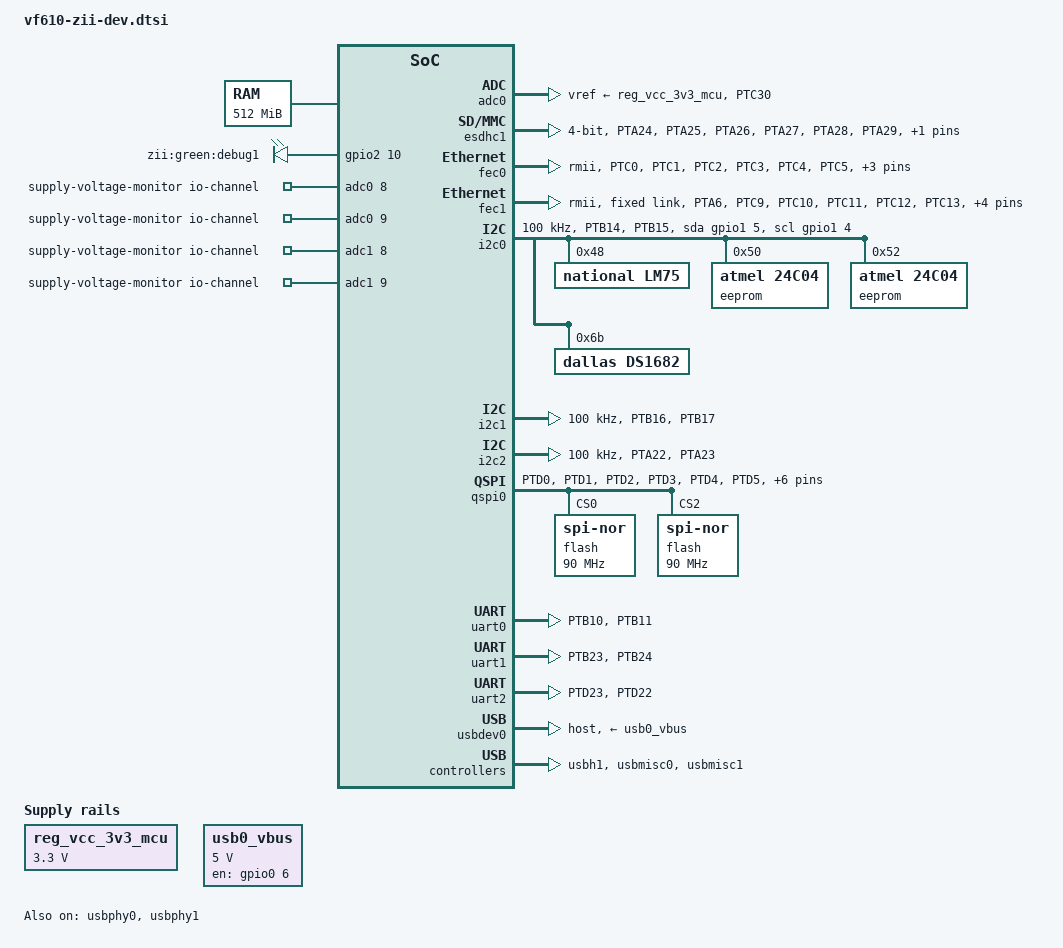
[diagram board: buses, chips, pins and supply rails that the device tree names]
/*
 * Copyright (C) 2015, 2016 Zodiac Inflight Innovations
 *
 * Based on an original 'vf610-twr.dts' which is Copyright 2015,
 * Freescale Semiconductor, Inc.
 *
 * This file is dual-licensed: you can use it either under the terms
 * of the GPL or the X11 license, at your option. Note that this dual
 * licensing only applies to this file, and not this project as a
 * whole.
 *
 *  a) This file is free software; you can redistribute it and/or
 *     modify it under the terms of the GNU General Public License
 *     version 2 as published by the Free Software Foundation.
 *
 *     This file is distributed in the hope that it will be useful,
 *     but WITHOUT ANY WARRANTY; without even the implied warranty of
 *     MERCHANTABILITY or FITNESS FOR A PARTICULAR PURPOSE.  See the
 *     GNU General Public License for more details.
 *
 * Or, alternatively,
 *
 *  b) Permission is hereby granted, free of charge, to any person
 *     obtaining a copy of this software and associated documentation
 *     files (the "Software"), to deal in the Software without
 *     restriction, including without limitation the rights to use,
 *     copy, modify, merge, publish, distribute, sublicense, and/or
 *     sell copies of the Software, and to permit persons to whom the
 *     Software is furnished to do so, subject to the following
 *     conditions:
 *
 *     The above copyright notice and this permission notice shall be
 *     included in all copies or substantial portions of the Software.
 *
 *     THE SOFTWARE IS PROVIDED , WITHOUT WARRANTY OF ANY KIND,
 *     EXPRESS OR IMPLIED, INCLUDING BUT NOT LIMITED TO THE WARRANTIES
 *     OF MERCHANTABILITY, FITNESS FOR A PARTICULAR PURPOSE AND
 *     NONINFRINGEMENT. IN NO EVENT SHALL THE AUTHORS OR COPYRIGHT
 *     HOLDERS BE LIABLE FOR ANY CLAIM, DAMAGES OR OTHER LIABILITY,
 *     WHETHER IN AN ACTION OF CONTRACT, TORT OR OTHERWISE, ARISING
 *     FROM, OUT OF OR IN CONNECTION WITH THE SOFTWARE OR THE USE OR
 *     OTHER DEALINGS IN THE SOFTWARE.
 */

#include "vf610.dtsi"

/ {
	chosen {
		stdout-path = "serial0:115200n8";
	};

	memory@80000000 {
		device_type = "memory";
		reg = <0x80000000 0x20000000>;
	};

	gpio-leds {
		compatible = "gpio-leds";
		pinctrl-0 = <&pinctrl_leds_debug>;
		pinctrl-names = "default";

		led-debug {
			label = "zii:green:debug1";
			gpios = <&gpio2 10 GPIO_ACTIVE_HIGH>;
			linux,default-trigger = "heartbeat";
		};
	};

	reg_vcc_3v3_mcu: regulator-vcc-3v3-mcu {
		compatible = "regulator-fixed";
		regulator-name = "vcc_3v3_mcu";
		regulator-min-microvolt = <3300000>;
		regulator-max-microvolt = <3300000>;
	};

	usb0_vbus: regulator-usb0-vbus {
		compatible = "regulator-fixed";
		pinctrl-0 = <&pinctrl_usb_vbus>;
		regulator-name = "usb_vbus";
		regulator-min-microvolt = <5000000>;
		regulator-max-microvolt = <5000000>;
		enable-active-high;
		regulator-always-on;
		regulator-boot-on;
		gpio = <&gpio0 6 0>;
	};

	supply-voltage-monitor {
		compatible = "iio-hwmon";
		io-channels = <&adc0 8>, /* VCC_1V5 */
			      <&adc0 9>, /* VCC_1V8 */
			      <&adc1 8>, /* VCC_1V0 */
			      <&adc1 9>; /* VCC_1V2 */
	};
};

&adc0 {
	pinctrl-names = "default";
	pinctrl-0 = <&pinctrl_adc0_ad5>;
	vref-supply = <&reg_vcc_3v3_mcu>;
	status = "okay";
};

&edma0 {
	status = "okay";
};

&edma1 {
	status = "okay";
};

&esdhc1 {
	pinctrl-names = "default";
	pinctrl-0 = <&pinctrl_esdhc1>;
	bus-width = <4>;
	status = "okay";
};

&fec0 {
	phy-mode = "rmii";
	pinctrl-names = "default";
	pinctrl-0 = <&pinctrl_fec0>;
	status = "okay";
};

&fec1 {
	phy-mode = "rmii";
	pinctrl-names = "default";
	pinctrl-0 = <&pinctrl_fec1>;
	status = "okay";

	fixed-link {
		   speed = <100>;
		   full-duplex;
	};

	mdio1: mdio {
		#address-cells = <1>;
		#size-cells = <0>;
		clock-frequency = <12500000>;
		suppress-preamble;
		status = "okay";
	};
};

&i2c0 {
	clock-frequency = <100000>;
	pinctrl-names = "default", "gpio";
	pinctrl-0 = <&pinctrl_i2c0>;
	pinctrl-1 = <&pinctrl_i2c0_gpio>;
	scl-gpios = <&gpio1 4 (GPIO_ACTIVE_HIGH | GPIO_OPEN_DRAIN)>;
	sda-gpios = <&gpio1 5 GPIO_ACTIVE_HIGH>;
	status = "okay";

	lm75@48 {
		compatible = "national,lm75";
		reg = <0x48>;
	};

	eeprom@50 {
		compatible = "atmel,24c04";
		reg = <0x50>;
	};

	eeprom@52 {
		compatible = "atmel,24c04";
		reg = <0x52>;
	};

	ds1682@6b {
		compatible = "dallas,ds1682";
		reg = <0x6b>;
	};
};

&i2c1 {
	clock-frequency = <100000>;
	pinctrl-names = "default";
	pinctrl-0 = <&pinctrl_i2c1>;
	status = "okay";
};

&i2c2 {
	clock-frequency = <100000>;
	pinctrl-names = "default";
	pinctrl-0 = <&pinctrl_i2c2>;
	status = "okay";
};

&qspi0 {
	pinctrl-names = "default";
	pinctrl-0 = <&pinctrl_qspi0>;
	status = "okay";

	/*
	 * Attached MT25QL02 can go up to 90Mhz in DTR and 166 in STR
	 * modes, so, spi-max-frequency is limited to 90MHz
	 */
	flash@0 {
		compatible = "jedec,spi-nor";
		#address-cells = <1>;
		#size-cells = <1>;
		spi-max-frequency = <90000000>;
		spi-rx-bus-width = <4>;
		reg = <0>;
		m25p,fast-read;
	};

	flash@2 {
		compatible = "jedec,spi-nor";
		#address-cells = <1>;
		#size-cells = <1>;
		spi-max-frequency = <90000000>;
		spi-rx-bus-width = <4>;
		reg = <2>;
		m25p,fast-read;
	};
};

&uart0 {
	pinctrl-names = "default";
	pinctrl-0 = <&pinctrl_uart0>;
	status = "okay";
};

&uart1 {
	pinctrl-names = "default";
	pinctrl-0 = <&pinctrl_uart1>;
	status = "okay";
};

&uart2 {
	pinctrl-names = "default";
	pinctrl-0 = <&pinctrl_uart2>;
	status = "okay";
};

&usbdev0 {
	disable-over-current;
	vbus-supply = <&usb0_vbus>;
	dr_mode = "host";
	status = "okay";
};

&usbh1 {
	disable-over-current;
	status = "okay";
};

&usbmisc0 {
	status = "okay";
};

&usbmisc1 {
	status = "okay";
};

&usbphy0 {
	status = "okay";
};

&usbphy1 {
	status = "okay";
};

&tempsensor {
	io-channels = <&adc0 16>;
};

&iomuxc {
	pinctrl_adc0_ad5: adc0ad5grp {
		fsl,pins = <
			VF610_PAD_PTC30__ADC0_SE5	0x00a1
		>;
	};

	pinctrl_dspi0: dspi0grp {
		fsl,pins = <
			VF610_PAD_PTB18__DSPI0_CS1	0x1182
			VF610_PAD_PTB19__DSPI0_CS0	0x1182
			VF610_PAD_PTB20__DSPI0_SIN	0x1181
			VF610_PAD_PTB21__DSPI0_SOUT	0x1182
			VF610_PAD_PTB22__DSPI0_SCK	0x1182
		>;
	};

	pinctrl_dspi2: dspi2grp {
		fsl,pins = <
			VF610_PAD_PTD31__DSPI2_CS1	0x1182
			VF610_PAD_PTD30__DSPI2_CS0	0x1182
			VF610_PAD_PTD29__DSPI2_SIN	0x1181
			VF610_PAD_PTD28__DSPI2_SOUT	0x1182
			VF610_PAD_PTD27__DSPI2_SCK	0x1182
		>;
	};

	pinctrl_esdhc1: esdhc1grp {
		fsl,pins = <
			VF610_PAD_PTA24__ESDHC1_CLK	0x31ef
			VF610_PAD_PTA25__ESDHC1_CMD	0x31ef
			VF610_PAD_PTA26__ESDHC1_DAT0	0x31ef
			VF610_PAD_PTA27__ESDHC1_DAT1	0x31ef
			VF610_PAD_PTA28__ESDHC1_DATA2	0x31ef
			VF610_PAD_PTA29__ESDHC1_DAT3	0x31ef
			VF610_PAD_PTA7__GPIO_134	0x219d
		>;
	};

	pinctrl_fec0: fec0grp {
		fsl,pins = <
			VF610_PAD_PTC0__ENET_RMII0_MDC	0x30d2
			VF610_PAD_PTC1__ENET_RMII0_MDIO	0x30d3
			VF610_PAD_PTC2__ENET_RMII0_CRS	0x30d1
			VF610_PAD_PTC3__ENET_RMII0_RXD1	0x30d1
			VF610_PAD_PTC4__ENET_RMII0_RXD0	0x30d1
			VF610_PAD_PTC5__ENET_RMII0_RXER	0x30d1
			VF610_PAD_PTC6__ENET_RMII0_TXD1	0x30d2
			VF610_PAD_PTC7__ENET_RMII0_TXD0	0x30d2
			VF610_PAD_PTC8__ENET_RMII0_TXEN	0x30d2
		>;
	};

	pinctrl_fec1: fec1grp {
		fsl,pins = <
			VF610_PAD_PTA6__RMII_CLKIN		0x30d1
			VF610_PAD_PTC9__ENET_RMII1_MDC		0x30d2
			VF610_PAD_PTC10__ENET_RMII1_MDIO	0x30d3
			VF610_PAD_PTC11__ENET_RMII1_CRS		0x30d1
			VF610_PAD_PTC12__ENET_RMII1_RXD1	0x30d1
			VF610_PAD_PTC13__ENET_RMII1_RXD0	0x30d1
			VF610_PAD_PTC14__ENET_RMII1_RXER	0x30d1
			VF610_PAD_PTC15__ENET_RMII1_TXD1	0x30d2
			VF610_PAD_PTC16__ENET_RMII1_TXD0	0x30d2
			VF610_PAD_PTC17__ENET_RMII1_TXEN	0x30d2
		>;
	};

	pinctrl_gpio_spi0: pinctrl-gpio-spi0-grp {
		fsl,pins = <
			VF610_PAD_PTB22__GPIO_44	0x33e2
			VF610_PAD_PTB21__GPIO_43	0x33e2
			VF610_PAD_PTB20__GPIO_42	0x33e1
			VF610_PAD_PTB19__GPIO_41	0x33e2
			VF610_PAD_PTB18__GPIO_40	0x33e2
		>;
	};

	pinctrl_gpio_switch0: pinctrl-gpio-switch0-grp {
		fsl,pins = <
			VF610_PAD_PTB5__GPIO_27		0x219d
		>;
	};

	pinctrl_gpio_switch1: pinctrl-gpio-switch1-grp {
		fsl,pins = <
			VF610_PAD_PTB4__GPIO_26		0x219d
		>;
	};

	pinctrl_i2c_mux_reset: pinctrl-i2c-mux-reset-grp {
		fsl,pins = <
			 VF610_PAD_PTE14__GPIO_119	0x31c2
			 >;
	};

	pinctrl_i2c0: i2c0grp {
		fsl,pins = <
			VF610_PAD_PTB14__I2C0_SCL	0x37ff
			VF610_PAD_PTB15__I2C0_SDA	0x37ff
		>;
	};

	pinctrl_i2c0_gpio: i2c0-gpio-grp {
		fsl,pins = <
			VF610_PAD_PTB14__GPIO_36	0x31c2
			VF610_PAD_PTB15__GPIO_37	0x31c2
		>;
	};


	pinctrl_i2c1: i2c1grp {
		fsl,pins = <
			VF610_PAD_PTB16__I2C1_SCL	0x37ff
			VF610_PAD_PTB17__I2C1_SDA	0x37ff
		>;
	};

	pinctrl_i2c2: i2c2grp {
		fsl,pins = <
			VF610_PAD_PTA22__I2C2_SCL	0x37ff
			VF610_PAD_PTA23__I2C2_SDA	0x37ff
		>;
	};

	pinctrl_leds_debug: pinctrl-leds-debug-grp {
		fsl,pins = <
			 VF610_PAD_PTD20__GPIO_74	0x31c2
			 >;
	};

	pinctrl_qspi0: qspi0grp {
		fsl,pins = <
			VF610_PAD_PTD0__QSPI0_A_QSCK	0x38c2
			VF610_PAD_PTD1__QSPI0_A_CS0	0x38c2
			VF610_PAD_PTD2__QSPI0_A_DATA3	0x38c3
			VF610_PAD_PTD3__QSPI0_A_DATA2	0x38c3
			VF610_PAD_PTD4__QSPI0_A_DATA1	0x38c3
			VF610_PAD_PTD5__QSPI0_A_DATA0	0x38c3
			VF610_PAD_PTD7__QSPI0_B_QSCK	0x38c2
			VF610_PAD_PTD8__QSPI0_B_CS0	0x38c2
			VF610_PAD_PTD9__QSPI0_B_DATA3	0x38c3
			VF610_PAD_PTD10__QSPI0_B_DATA2	0x38c3
			VF610_PAD_PTD11__QSPI0_B_DATA1	0x38c3
			VF610_PAD_PTD12__QSPI0_B_DATA0	0x38c3
		>;
	};

	pinctrl_uart0: uart0grp {
		fsl,pins = <
			VF610_PAD_PTB10__UART0_TX	0x21a2
			VF610_PAD_PTB11__UART0_RX	0x21a1
		>;
	};

	pinctrl_uart1: uart1grp {
		fsl,pins = <
			VF610_PAD_PTB23__UART1_TX	0x21a2
			VF610_PAD_PTB24__UART1_RX	0x21a1
		>;
	};

	pinctrl_uart2: uart2grp {
		fsl,pins = <
			VF610_PAD_PTD23__UART2_TX	0x21a2
			VF610_PAD_PTD22__UART2_RX	0x21a1
		>;
	};

	pinctrl_usb_vbus: pinctrl-usb-vbus-grp {
		fsl,pins = <
			VF610_PAD_PTA16__GPIO_6	0x31c2
		>;
	};

	pinctrl_usb0_host: usb0-host-grp {
		fsl,pins = <
			VF610_PAD_PTD6__GPIO_85		0x0062
		>;
	};
};
